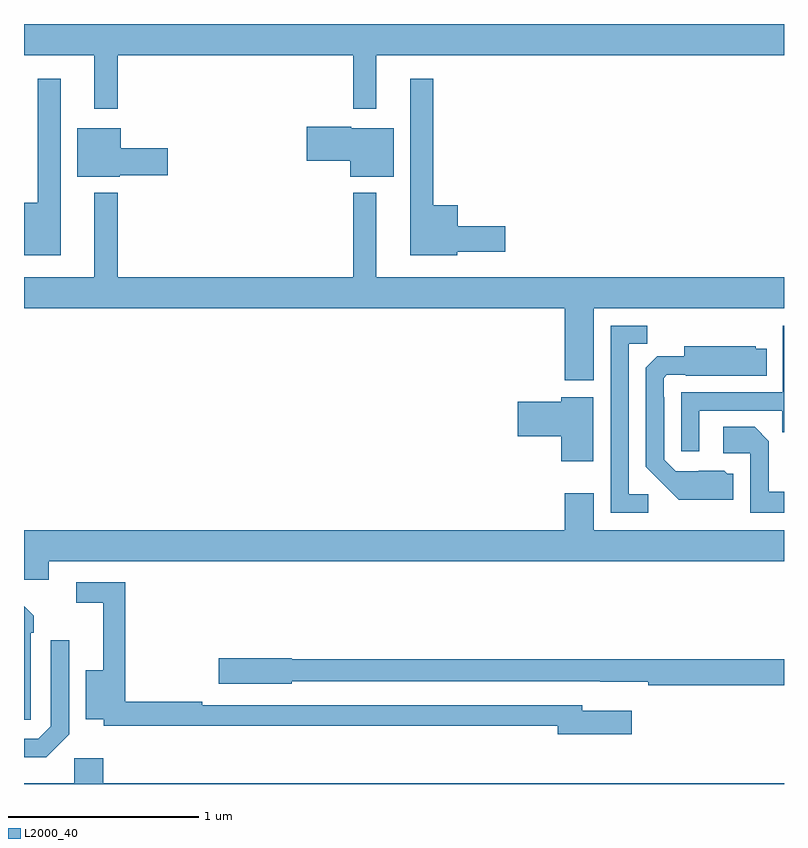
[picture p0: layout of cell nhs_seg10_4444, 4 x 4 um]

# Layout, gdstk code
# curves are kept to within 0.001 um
import gdstk
lib = gdstk.Library(unit=1e-6, precision=1e-09)
def P(c, l, *ps):  # polygons
    for p in ps: c.add(gdstk.Polygon(p, *l))
L2000_40 = (2000, 40)

nhs_seg10_4444 = lib.new_cell('nhs_seg10_4444')
P(nhs_seg10_4444, L2000_40, [(363.493,1280.336),(364.734,1280.336),(364.734,1280.055),(364.855,1280.055),(364.855,1280.336),(367,1280.336),(367,1280.5),(363,1280.5),(363,1280.336),(363.371,1280.336),(363.371,1280.055),(363.493,1280.055)],
  [(365.28,1279.301),(365.533,1279.301),(365.533,1279.436),(365.284,1279.436),(365.284,1279.546),(365.155,1279.546),(365.155,1280.212),(365.033,1280.212),(365.033,1279.283),(365.28,1279.283)],
  [(363.193,1280.212),(363.072,1280.212),(363.072,1279.559),(363,1279.559),(363,1279.283),(363.193,1279.283)],
  [(364.945,1279.951),(364.722,1279.951),(364.722,1279.959),(364.488,1279.959),(364.488,1279.781),(364.718,1279.781),(364.718,1279.697),(364.945,1279.697)],
  [(363.504,1279.703),(363.757,1279.703),(363.757,1279.845),(363.508,1279.845),(363.508,1279.951),(363.281,1279.951),(363.281,1279.697),(363.504,1279.697)],
  [(365.998,1279.004),(367,1279.004),(367,1279.168),(364.855,1279.168),(364.855,1279.612),(364.734,1279.612),(364.734,1279.168),(363.493,1279.168),(363.493,1279.612),(363.371,1279.612),(363.371,1279.168),(363,1279.168),(363,1279.004),(365.846,1279.004),(365.846,1278.624),(365.998,1278.624)],
  [(366.286,1278.024),(366.183,1278.024),(366.183,1278.817),(366.279,1278.817),(366.279,1278.912),(366.087,1278.912),(366.087,1277.928),(366.286,1277.928)],
  [(366.555,1278.465),(366.991,1278.465),(366.991,1278.352),(367,1278.352),(367,1278.912),(366.993,1278.912),(366.993,1278.561),(366.459,1278.561),(366.459,1278.252),(366.555,1278.252)],
  [(366.733,1278.132),(366.702,1278.132),(366.686,1278.148),(366.429,1278.147),(366.369,1278.207),(366.369,1278.536),(366.366,1278.536),(366.366,1278.636),(366.384,1278.654),(366.484,1278.654),(366.484,1278.65),(366.908,1278.65),(366.908,1278.79),(366.852,1278.79),(366.852,1278.805),(366.476,1278.805),(366.476,1278.751),(366.332,1278.751),(366.273,1278.692),(366.273,1278.17),(366.445,1277.996),(366.733,1277.996)],
  [(365.995,1278.535),(365.828,1278.535),(365.828,1278.512),(365.598,1278.512),(365.598,1278.329),(365.828,1278.329),(365.828,1278.198),(365.995,1278.198)],
  [(367,1278.037),(366.921,1278.037),(366.921,1278.304),(366.845,1278.38),(366.681,1278.38),(366.681,1278.24),(366.822,1278.24),(366.822,1277.928),(367,1277.928)],
  [(363.13,1277.672),(367,1277.672),(367,1277.836),(365.998,1277.836),(365.998,1278.031),(365.846,1278.031),(365.846,1277.836),(363,1277.836),(363,1277.574),(363.13,1277.574)],
  [(366.199,1276.885),(365.938,1276.885),(365.938,1276.914),(363.938,1276.914),(363.938,1276.934),(363.533,1276.934),(363.533,1277.562),(363.276,1277.562),(363.276,1277.454),(363.416,1277.454),(363.416,1277.098),(363.326,1277.098),(363.326,1276.841),(363.42,1276.841),(363.42,1276.806),(365.81,1276.806),(365.81,1276.763),(366.199,1276.763)],
  [(363.036,1277.297),(363.051,1277.297),(363.051,1277.385),(363,1277.436),(363,1276.839),(363.036,1276.839)],
  [(363.237,1276.761),(363.237,1277.257),(363.141,1277.257),(363.141,1276.803),(363.075,1276.737),(363,1276.737),(363,1276.64),(363.116,1276.64)],
  [(367,1277.156),(364.41,1277.156),(364.41,1277.162),(364.026,1277.162),(364.026,1277.027),(364.41,1277.027),(364.41,1277.04),(366.034,1277.04),(366.034,1277.039),(366.286,1277.039),(366.286,1277.02),(367,1277.02)],
  [(367,1276.504),(363.416,1276.504),(363.416,1276.636),(363.264,1276.636),(363.264,1276.504),(363,1276.504),(363,1276.5),(367,1276.5)])

lib.write_gds('nhs_seg10_4444.gds')
